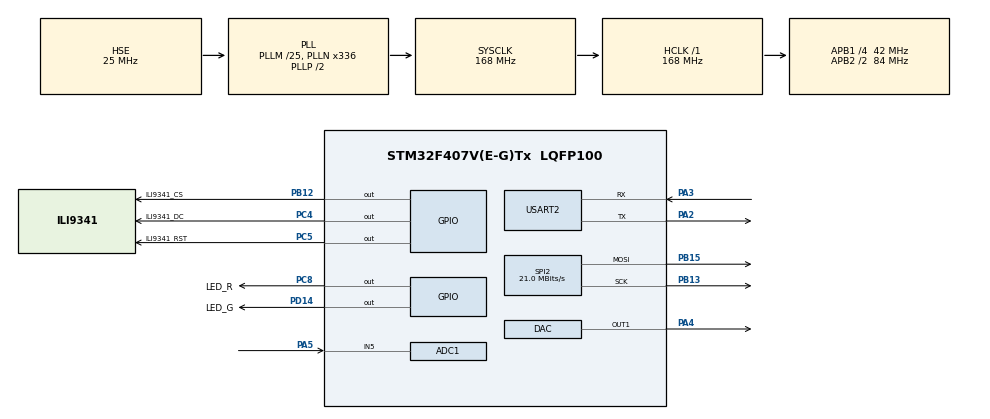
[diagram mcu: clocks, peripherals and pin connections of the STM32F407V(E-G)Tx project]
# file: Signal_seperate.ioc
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ADC1.Channel-0\#ChannelRegularConversion=ADC_CHANNEL_5
ADC1.DMAContinuousRequests=DISABLE
ADC1.ExternalTrigConv=ADC_EXTERNALTRIGCONV_T3_TRGO
ADC1.NbrOfConversion=1
ADC1.NbrOfConversionFlag=1
ADC1.Rank-0\#ChannelRegularConversion=1
ADC1.SamplingTime-0\#ChannelRegularConversion=ADC_SAMPLETIME_3CYCLES
ADC1.master=1
DAC.DAC_OutputBuffer=DAC_OUTPUTBUFFER_ENABLE
DAC.DAC_Trigger=DAC_TRIGGER_T8_TRGO
Dma.ADC1.0.Direction=DMA_PERIPH_TO_MEMORY
Dma.ADC1.0.FIFOMode=DMA_FIFOMODE_DISABLE
Dma.ADC1.0.Instance=DMA2_Stream0
Dma.ADC1.0.MemDataAlignment=DMA_MDATAALIGN_HALFWORD
Dma.ADC1.0.MemInc=DMA_MINC_ENABLE
Dma.ADC1.0.Mode=DMA_NORMAL
Dma.ADC1.0.PeriphDataAlignment=DMA_PDATAALIGN_HALFWORD
Dma.ADC1.0.PeriphInc=DMA_PINC_DISABLE
Dma.ADC1.0.Priority=DMA_PRIORITY_HIGH
Dma.DAC1.1.Direction=DMA_MEMORY_TO_PERIPH
Dma.DAC1.1.FIFOMode=DMA_FIFOMODE_DISABLE
Dma.DAC1.1.Instance=DMA1_Stream5
Dma.DAC1.1.MemDataAlignment=DMA_MDATAALIGN_WORD
Dma.DAC1.1.MemInc=DMA_MINC_ENABLE
Dma.DAC1.1.Mode=DMA_CIRCULAR
Dma.DAC1.1.PeriphDataAlignment=DMA_PDATAALIGN_WORD
Dma.DAC1.1.PeriphInc=DMA_PINC_DISABLE
Dma.DAC1.1.Priority=DMA_PRIORITY_HIGH
Dma.Request0=ADC1
Dma.Request1=DAC1
Mcu.Family=STM32F4
Mcu.Name=STM32F407V(E-G)Tx
Mcu.Package=LQFP100
NVIC.ADC_IRQn=true\:0\:0\:false\:false\:true\:true\:true\:true
NVIC.DMA1_Stream5_IRQn=true\:0\:0\:false\:false\:true\:false\:true\:true
NVIC.DMA2_Stream0_IRQn=true\:0\:0\:false\:false\:true\:false\:true\:true
NVIC.PriorityGroup=NVIC_PRIORITYGROUP_4
NVIC.TIM3_IRQn=true\:0\:0\:false\:false\:true\:true\:true\:true
NVIC.USART2_IRQn=true\:0\:0\:false\:false\:true\:true\:true\:true
PA13.Mode=Serial_Wire
PA13.Signal=SYS_JTMS-SWDIO
PA14.Mode=Serial_Wire
PA14.Signal=SYS_JTCK-SWCLK
PA2.Mode=Asynchronous
PA2.Signal=USART2_TX
PA3.Mode=Asynchronous
PA3.Signal=USART2_RX
PA4.Signal=COMP_DAC1_group
PA5.Signal=ADCx_IN5
PB12.GPIO_Label=ILI9341_CS
PB12.GPIO_Speed=GPIO_SPEED_FREQ_VERY_HIGH
PB12.Signal=GPIO_Output
PB13.Mode=TX_Only_Simplex_Unidirect_Master
PB13.Signal=SPI2_SCK
PB15.Mode=TX_Only_Simplex_Unidirect_Master
PB15.Signal=SPI2_MOSI
PC4.GPIO_Label=ILI9341_DC
PC4.GPIO_Speed=GPIO_SPEED_FREQ_VERY_HIGH
PC4.Signal=GPIO_Output
PC5.GPIO_Label=ILI9341_RST
PC5.GPIO_Speed=GPIO_SPEED_FREQ_VERY_HIGH
PC5.Signal=GPIO_Output
PC8.GPIO_Label=LED_R
PC8.GPIO_PuPd=GPIO_PULLDOWN
PC8.Signal=GPIO_Output
PD14.GPIO_Label=LED_G
PD14.GPIO_PuPd=GPIO_PULLDOWN
PD14.Signal=GPIO_Output
PH0-OSC_IN.Mode=HSE-External-Oscillator
PH0-OSC_IN.Signal=RCC_OSC_IN
PH1-OSC_OUT.Mode=HSE-External-Oscillator
PH1-OSC_OUT.Signal=RCC_OSC_OUT
ProjectManager.HeapSize=0x200
ProjectManager.StackSize=0x400
ProjectManager.TargetToolchain=MDK-ARM V5.32
RCC.48MHZClocksFreq_Value=84000000
RCC.AHBFreq_Value=168000000
RCC.APB1CLKDivider=RCC_HCLK_DIV4
RCC.APB1Freq_Value=42000000
RCC.APB1TimFreq_Value=84000000
RCC.APB2CLKDivider=RCC_HCLK_DIV2
RCC.APB2Freq_Value=84000000
RCC.APB2TimFreq_Value=168000000
RCC.CortexFreq_Value=168000000
RCC.HCLKFreq_Value=168000000
RCC.HSE_VALUE=25000000
RCC.HSI_VALUE=16000000
RCC.LSE_VALUE=32768
RCC.PLLM=25
RCC.PLLN=336
RCC.PLLSourceVirtual=RCC_PLLSOURCE_HSE
RCC.SYSCLKFreq_VALUE=168000000
RCC.SYSCLKSource=RCC_SYSCLKSOURCE_PLLCLK
RCC.VCOOutputFreq_Value=336000000
SH.ADCx_IN5.0=ADC1_IN5,IN5
SH.COMP_DAC1_group.0=DAC_OUT1,DAC_OUT1
SPI2.BaudRatePrescaler=SPI_BAUDRATEPRESCALER_2
SPI2.CalculateBaudRate=21.0 MBits/s
SPI2.Direction=SPI_DIRECTION_2LINES
SPI2.Mode=SPI_MODE_MASTER
SPI2.VirtualType=VM_MASTER
STMicroelectronics.X-CUBE-ALGOBUILD.1.4.0.LibraryCcDSPOoLibraryJjDSPOoLibrary=true
TIM3.AutoReloadPreload=TIM_AUTORELOAD_PRELOAD_ENABLE
TIM3.Period=100 - 1
TIM3.Prescaler=21 - 1
TIM3.TIM_MasterOutputTrigger=TIM_TRGO_UPDATE
TIM8.Period=40 - 1
TIM8.Prescaler=840 - 1
TIM8.TIM_MasterOutputTrigger=TIM_TRGO_UPDATE
USART2.VirtualMode=VM_ASYNC
VP_STMicroelectronics.X-CUBE-ALGOBUILD_VS_DSPOoLibraryJjLibrary_1.4.0_1.4.0.Mode=DSPOoLibraryJjLibrary
VP_TIM3_VS_ClockSourceINT.Mode=Internal
VP_TIM8_VS_ClockSourceINT.Mode=Internal
board=custom

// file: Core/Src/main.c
/* USER CODE BEGIN Header */
/**
  ******************************************************************************
  * @file           : main.c
  * @brief          : Main program body
  ******************************************************************************
  * @attention
  *
  * Copyright (c) 2025 STMicroelectronics.
  * All rights reserved.
  *
  * This software is licensed under terms that can be found in the LICENSE file
  * in the root directory of this software component.
  * If no LICENSE file comes with this software, it is provided AS-IS.
  *
  ******************************************************************************
  */
/* USER CODE END Header */
#include "main.h"
#include "adc.h"
#include "dac.h"
#include "dma.h"
#include "spi.h"
#include "tim.h"
#include "usart.h"
#include "gpio.h"

/* USER CODE BEGIN Includes */
#include "Delay.h"
#include "math.h"
#include "LCDAPI.h"
#include "FFT.h"
#include "DDS.h"
/* USER CODE END Includes */

/* USER CODE BEGIN PV */
extern uint16_t *ADCbuff;						// 采样数据
extern bin_prev_t prev[2];
extern tone_t tones[2];
extern DDS_TypeDef DDS;
uint16_t ADCbuff_2frame[FFT_SIZE * 2];
uint8_t frame_ready = 0;
/* USER CODE END PV */

void SystemClock_Config(void);

int main(void)
{

  /* MCU Configuration--------------------------------------------------------*/

  /* Reset of all peripherals, Initializes the Flash interface and the Systick. */
  HAL_Init();

  /* USER CODE BEGIN Init */
  delay_init(168);
  /* USER CODE END Init */

  /* Configure the system clock */
  SystemClock_Config();

  /* Initialize all configured peripherals */
  MX_GPIO_Init();
  MX_DMA_Init();
  MX_SPI2_Init();
  MX_USART2_UART_Init();
  MX_ADC1_Init();
  MX_DAC_Init();
  MX_TIM3_Init();
  MX_TIM8_Init();
  /* USER CODE BEGIN 2 */
  LCD_Init();
  HAL_Delay(500);

  LCD_FillScreen(LCD_COLOR_WHITE);
  LCD_Disp_Text(10, 10, LCD_COLOR_BLACK, 3, ASCII5x7, "Succeed!");
  LCD_Disp_Text(15, 50, LCD_COLOR_BLACK, 3, ASCII5x7, "U1");
  LCD_Disp_Text(30, 80, LCD_COLOR_BLACK, 2, ASCII5x7, "FREQ: ");
  LCD_Disp_Text(30, 105, LCD_COLOR_BLACK, 2, ASCII5x7, "Vopp: ");
  LCD_Disp_Text(15, 150, LCD_COLOR_BLACK, 3, ASCII5x7, "U2");
  LCD_Disp_Text(30, 180, LCD_COLOR_BLACK, 2, ASCII5x7, "FREQ: ");
  LCD_Disp_Text(30, 205, LCD_COLOR_BLACK, 2, ASCII5x7, "Vopp: ");

//  DDS.amp = 2.0;
//  DDS.freq = 1000;
//  DDS.phase = 0;
//  DDS.duty = 0.5;
//  DDS.waveType = SINE_WAVE;
//  DDS.offset = 0.5;
//  DDS_Start();

  printf("start\r\n");

  HAL_ADC_Start_DMA(&hadc1, (uint32_t *)ADCbuff_2frame, FFT_SIZE * 2);
  HAL_TIM_Base_Start(&htim3);
  /* USER CODE END 2 */

  /* Infinite loop */
  /* USER CODE BEGIN WHILE */
  while (1)
  {
	 if (frame_ready)
	 {
        ADCbuff = &ADCbuff_2frame[0];
		process_signal();

		printf("\r\nf1=%8.3f Hz  A1=%6.3f  phi1=%7.3f  |  f2=%8.3f Hz  A2=%6.3f  phi2=%7.3f\r\n",
               tones[0].f, tones[0].A, tones[0].phi,
               tones[1].f, tones[1].A, tones[1].phi);

		ADCbuff = &ADCbuff_2frame[4096];
		process_signal();
        frame_ready = 0;

        printf("\r\nf1=%8.3f Hz  A1=%6.3f  phi1=%7.3f  |  f2=%8.3f Hz  A2=%6.3f  phi2=%7.3f\r\n",
                tones[0].f, tones[0].A, tones[0].phi,
                tones[1].f, tones[1].A, tones[1].phi);

		// 装填DDS波形参数
		DDS.amp = tones[0].A * 2;
		DDS.freq = tones[0].f;
		DDS.phase = tones[0].phi;
		DDS.duty = 0.5;
		DDS.waveType = SINE_WAVE;
		DDS.offset = 0;
		DDS_Start();

		// 判断频率整数位数
		int intnum_1 = 0;
		int intnum_2 = 0;
		int temp_1 = (int)tones[0].f;
		int temp_2 = (int)tones[1].f;

		while(temp_1 > 0)
		{
			intnum_1++;
			temp_1 /= 10;
		}

		while(temp_2 > 0)
		{
			intnum_2++;
			temp_2 /= 10;
		}

		LCD_Disp_Decimal(100, 80, LCD_COLOR_BLACK, 2, ASCII5x7, (double)tones[0].f, intnum_1, 2);
		LCD_Disp_Text(145 + intnum_1 * 10, 80, LCD_COLOR_BLACK, 2, ASCII5x7, "Hz");

		LCD_Disp_Decimal(100, 105, LCD_COLOR_BLACK, 2, ASCII5x7, (double)tones[0].A * 10, 1, 2);
		LCD_Disp_Text(155, 105, LCD_COLOR_BLACK, 2, ASCII5x7, "V");

		LCD_Disp_Decimal(100, 180, LCD_COLOR_BLACK, 2, ASCII5x7, (double)tones[1].f, intnum_2, 2);
		LCD_Disp_Text(145 + intnum_2 * 10, 180, LCD_COLOR_BLACK, 2, ASCII5x7, "Hz");

		LCD_Disp_Decimal(100, 205, LCD_COLOR_BLACK, 2, ASCII5x7, (double)tones[1].A * 10, 1, 2);
		LCD_Disp_Text(155, 205, LCD_COLOR_BLACK, 2, ASCII5x7, "V");

		HAL_GPIO_TogglePin(LED_R_GPIO_Port, LED_R_Pin);
     }
    /* USER CODE END WHILE */

  }
}

void SystemClock_Config(void)
{
  RCC_OscInitTypeDef RCC_OscInitStruct = {0};
  RCC_ClkInitTypeDef RCC_ClkInitStruct = {0};

  /** Configure the main internal regulator output voltage
  */
  __HAL_RCC_PWR_CLK_ENABLE();
  __HAL_PWR_VOLTAGESCALING_CONFIG(PWR_REGULATOR_VOLTAGE_SCALE1);

  /** Initializes the RCC Oscillators according to the specified parameters
  * in the RCC_OscInitTypeDef structure.
  */
  RCC_OscInitStruct.OscillatorType = RCC_OSCILLATORTYPE_HSE;
  RCC_OscInitStruct.HSEState = RCC_HSE_ON;
  RCC_OscInitStruct.PLL.PLLState = RCC_PLL_ON;
  RCC_OscInitStruct.PLL.PLLSource = RCC_PLLSOURCE_HSE;
  RCC_OscInitStruct.PLL.PLLM = 25;
  RCC_OscInitStruct.PLL.PLLN = 336;
  RCC_OscInitStruct.PLL.PLLP = RCC_PLLP_DIV2;
  RCC_OscInitStruct.PLL.PLLQ = 4;
  if (HAL_RCC_OscConfig(&RCC_OscInitStruct) != HAL_OK)
  {
    Error_Handler();
  }

  /** Initializes the CPU, AHB and APB buses clocks
  */
  RCC_ClkInitStruct.ClockType = RCC_CLOCKTYPE_HCLK|RCC_CLOCKTYPE_SYSCLK
                              |RCC_CLOCKTYPE_PCLK1|RCC_CLOCKTYPE_PCLK2;
  RCC_ClkInitStruct.SYSCLKSource = RCC_SYSCLKSOURCE_PLLCLK;
  RCC_ClkInitStruct.AHBCLKDivider = RCC_SYSCLK_DIV1;
  RCC_ClkInitStruct.APB1CLKDivider = RCC_HCLK_DIV4;
  RCC_ClkInitStruct.APB2CLKDivider = RCC_HCLK_DIV2;

  if (HAL_RCC_ClockConfig(&RCC_ClkInitStruct, FLASH_LATENCY_5) != HAL_OK)
  {
    Error_Handler();
  }
}

void Error_Handler(void)
{
  __disable_irq();
  while (1)
  {
  }
}
